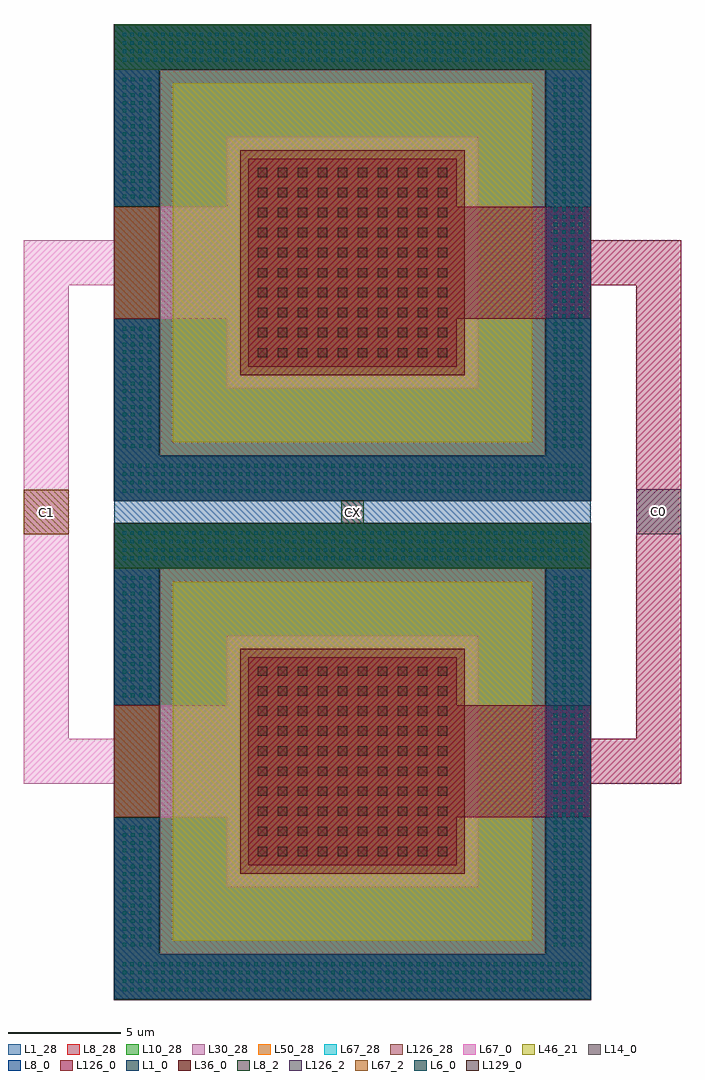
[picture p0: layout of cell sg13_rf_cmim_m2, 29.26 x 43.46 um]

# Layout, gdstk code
from math import pi, radians
import gdstk
lib = gdstk.Library(unit=1e-6, precision=1e-09)
def R(c, l, rs):  # rectangles x0, y0, x1, y1
    for r in rs: c.add(gdstk.rectangle(r[:2], r[2:], *l))
def A(c, l, x, y, w, h, nx, ny, dx, dy):  # array of equal rectangles
    R(c, l, [(x+i*dx, y+j*dy, x+i*dx+w, y+j*dy+h) for i in range(nx) for j in range(ny)])
def P(c, l, *ps):  # polygons
    for p in ps: c.add(gdstk.Polygon(p, *l))
L1_0 = (1, 0)
L1_28 = (1, 28)
L6_0 = (6, 0)
L8_0 = (8, 0)
L8_2 = (8, 2)
L8_28 = (8, 28)
L10_28 = (10, 28)
L14_0 = (14, 0)
L30_28 = (30, 28)
L36_0 = (36, 0)
L46_21 = (46, 21)
L50_28 = (50, 28)
L67_0 = (67, 0)
L67_2 = (67, 2)
L67_28 = (67, 28)
L126_0 = (126, 0)
L126_2 = (126, 2)
L126_28 = (126, 28)
L129_0 = (129, 0)

rfcmim = lib.new_cell('rfcmim')
P(rfcmim, L1_0, [(-5.6,-5.6),(-5.6,15.6),(15.6,15.6),(15.6,7.5),(13.6,7.5),(13.6,13.6),(-3.6,13.6),(-3.6,-3.6),(13.6,-3.6),(13.6,2.5),(15.6,2.5),(15.6,-5.6)])
R(rfcmim, L1_28, [(-5.6,-5.6,15.6,15.6)])
A(rfcmim, L6_0, -4.9, -5.24, 0.16, 0.16, 8, 2, 0.345, 0.37)
A(rfcmim, L6_0, -2.145, -5.24, 0.16, 0.16, 8, 2, 0.345, 0.37)
A(rfcmim, L6_0, 0.61, -5.24, 0.16, 0.16, 9, 2, 0.345, 0.37)
A(rfcmim, L6_0, 3.71, -5.24, 0.16, 0.16, 8, 2, 0.345, 0.37)
A(rfcmim, L6_0, 6.465, -5.24, 0.16, 0.16, 9, 2, 0.345, 0.37)
A(rfcmim, L6_0, 9.565, -5.24, 0.16, 0.16, 8, 2, 0.345, 0.37)
A(rfcmim, L6_0, 12.32, -5.24, 0.16, 0.16, 9, 2, 0.345, 0.37)
A(rfcmim, L6_0, -5.24, -4.87, 0.16, 0.16, 1, 3, 0, 0.375)
A(rfcmim, L6_0, -4.9, -4.495, 0.16, 0.16, 8, 2, 0.345, 0.375)
A(rfcmim, L6_0, -2.145, -4.495, 0.16, 0.16, 8, 2, 0.345, 0.375)
A(rfcmim, L6_0, 0.61, -4.495, 0.16, 0.16, 9, 2, 0.345, 0.375)
A(rfcmim, L6_0, 3.71, -4.495, 0.16, 0.16, 8, 2, 0.345, 0.375)
A(rfcmim, L6_0, 6.465, -4.495, 0.16, 0.16, 9, 2, 0.345, 0.375)
A(rfcmim, L6_0, 9.565, -4.495, 0.16, 0.16, 8, 2, 0.345, 0.375)
A(rfcmim, L6_0, 12.32, -4.495, 0.16, 0.16, 9, 2, 0.345, 0.375)
A(rfcmim, L6_0, -5.24, -3.24, 0.16, 0.16, 1, 49, 0, 0.34)
A(rfcmim, L6_0, -4.87, -3.24, 0.16, 0.16, 3, 49, 0.375, 0.34)
A(rfcmim, L6_0, 14.33, -3.24, 0.16, 0.16, 3, 2, 0.375, 0.345)
A(rfcmim, L6_0, 14.33, -2.545, 0.16, 0.16, 3, 2, 0.375, 0.345)
A(rfcmim, L6_0, 13.96, -2.2, 0.16, 0.16, 1, 3, 0, 0.35)
A(rfcmim, L6_0, 14.33, -1.85, 0.16, 0.16, 3, 2, 0.375, 0.35)
A(rfcmim, L6_0, 14.33, -1.155, 0.16, 0.16, 3, 2, 0.375, 0.35)
A(rfcmim, L6_0, 13.96, -0.46, 0.16, 0.16, 1, 3, 0, 0.35)
A(rfcmim, L6_0, 14.33, -0.46, 0.16, 0.16, 3, 3, 0.375, 0.35)
A(rfcmim, L6_0, 14.33, 0.585, 0.16, 0.16, 3, 2, 0.375, 0.35)
A(rfcmim, L6_0, 13.96, 1.28, 0.16, 0.16, 1, 3, 0, 0.35)
A(rfcmim, L6_0, 14.33, 1.28, 0.16, 0.16, 3, 3, 0.375, 0.35)
A(rfcmim, L6_0, 14.33, 7.86, 0.16, 0.16, 3, 2, 0.375, 0.345)
A(rfcmim, L6_0, 14.33, 8.555, 0.16, 0.16, 3, 2, 0.375, 0.345)
A(rfcmim, L6_0, 13.96, 8.9, 0.16, 0.16, 1, 3, 0, 0.35)
A(rfcmim, L6_0, 14.33, 9.25, 0.16, 0.16, 3, 2, 0.375, 0.35)
A(rfcmim, L6_0, 14.33, 9.945, 0.16, 0.16, 3, 2, 0.375, 0.35)
A(rfcmim, L6_0, 13.96, 10.64, 0.16, 0.16, 1, 3, 0, 0.35)
A(rfcmim, L6_0, 14.33, 10.64, 0.16, 0.16, 3, 3, 0.375, 0.35)
A(rfcmim, L6_0, 14.33, 11.685, 0.16, 0.16, 3, 2, 0.375, 0.35)
A(rfcmim, L6_0, 13.96, 12.38, 0.16, 0.16, 1, 3, 0, 0.35)
A(rfcmim, L6_0, 14.33, 12.38, 0.16, 0.16, 3, 3, 0.375, 0.35)
A(rfcmim, L6_0, -4.9, 13.96, 0.16, 0.16, 8, 2, 0.345, 0.37)
A(rfcmim, L6_0, -2.145, 13.96, 0.16, 0.16, 8, 2, 0.345, 0.37)
A(rfcmim, L6_0, 0.61, 13.96, 0.16, 0.16, 9, 2, 0.345, 0.37)
A(rfcmim, L6_0, 3.71, 13.96, 0.16, 0.16, 8, 2, 0.345, 0.37)
A(rfcmim, L6_0, 6.465, 13.96, 0.16, 0.16, 9, 2, 0.345, 0.37)
A(rfcmim, L6_0, 9.565, 13.96, 0.16, 0.16, 8, 2, 0.345, 0.37)
A(rfcmim, L6_0, 12.32, 13.96, 0.16, 0.16, 9, 2, 0.345, 0.37)
A(rfcmim, L6_0, -5.24, 14.33, 0.16, 0.16, 1, 3, 0, 0.375)
A(rfcmim, L6_0, -4.9, 14.705, 0.16, 0.16, 8, 2, 0.345, 0.375)
A(rfcmim, L6_0, -2.145, 14.705, 0.16, 0.16, 8, 2, 0.345, 0.375)
A(rfcmim, L6_0, 0.61, 14.705, 0.16, 0.16, 9, 2, 0.345, 0.375)
A(rfcmim, L6_0, 3.71, 14.705, 0.16, 0.16, 8, 2, 0.345, 0.375)
A(rfcmim, L6_0, 6.465, 14.705, 0.16, 0.16, 9, 2, 0.345, 0.375)
A(rfcmim, L6_0, 9.565, 14.705, 0.16, 0.16, 8, 2, 0.345, 0.375)
A(rfcmim, L6_0, 12.32, 14.705, 0.16, 0.16, 9, 2, 0.345, 0.375)
R(rfcmim, L6_0, [(-5.24,-5.24,-5.08,-5.08), (13.96,-3.24,14.12,-3.08), (13.96,-2.895,14.12,-2.735), (13.96,-2.545,14.12,-2.385), (13.96,-1.155,14.12,-0.995), (13.96,-0.805,14.12,-0.645), (13.96,0.585,14.12,0.745), (13.96,0.935,14.12,1.095), (13.96,7.86,14.12,8.02), (13.96,8.205,14.12,8.365), (13.96,8.555,14.12,8.715), (13.96,9.945,14.12,10.105), (13.96,10.295,14.12,10.455), (13.96,11.685,14.12,11.845), (13.96,12.035,14.12,12.195), (-5.24,13.96,-5.08,14.12)])
P(rfcmim, L8_0, [(-5.6,-5.6),(-5.6,15.6),(15.6,15.6),(15.6,7.5),(13.6,7.5),(13.6,13.6),(-3.6,13.6),(-3.6,-3.6),(13.6,-3.6),(13.6,2.5),(15.6,2.5),(15.6,-5.6)])
R(rfcmim, L8_2, [(-5.6,-5.6,15.6,-3.6), (-5.6,-5.6,15.6,-3.6)])
R(rfcmim, L8_28, [(-5.6,-5.6,15.6,15.6)])
R(rfcmim, L10_28, [(-5.6,-5.6,15.6,15.6)])
P(rfcmim, L14_0, [(-5.63,-5.63),(-5.63,13.57),(-3.57,13.57),(-3.57,-3.57),(13.57,-3.57),(13.57,13.57),(-5.63,13.57),(-5.63,15.63),(15.63,15.63),(15.63,-5.63)])
R(rfcmim, L30_28, [(-5.6,-5.6,15.6,15.6)])
R(rfcmim, L36_0, [(0,0,10,10)])
R(rfcmim, L46_21, [(-3,-3,13,13)])
R(rfcmim, L50_28, [(-5.6,-5.6,15.6,15.6)])
R(rfcmim, L67_0, [(-0.6,-0.6,10.6,10.6), (-0.6,-0.6,10.6,10.6), (10.6,2.5,15.6,7.5)])
R(rfcmim, L67_2, [(13.6,2.5,15.6,7.5), (13.6,2.5,15.6,7.5)])
R(rfcmim, L67_28, [(-5.6,-5.6,15.6,15.6)])
R(rfcmim, L126_0, [(0.36,0.36,9.64,9.64), (-5.6,2.5,0.36,7.5)])
R(rfcmim, L126_2, [(-5.6,2.5,-3.6,7.5), (-5.6,2.5,-3.6,7.5)])
R(rfcmim, L126_28, [(-5.6,-5.6,15.6,15.6)])
A(rfcmim, L129_0, 0.78, 0.78, 0.42, 0.42, 5, 5, 0.89, 0.89)
A(rfcmim, L129_0, 5.235, 0.78, 0.42, 0.42, 4, 5, 0.89, 0.89)
A(rfcmim, L129_0, 8.8, 0.78, 0.42, 0.42, 1, 5, 0, 0.89)
A(rfcmim, L129_0, 0.78, 5.235, 0.42, 0.42, 5, 4, 0.89, 0.89)
A(rfcmim, L129_0, 5.235, 5.235, 0.42, 0.42, 4, 4, 0.89, 0.89)
A(rfcmim, L129_0, 8.8, 5.235, 0.42, 0.42, 1, 4, 0, 0.89)
A(rfcmim, L129_0, 0.78, 8.8, 0.42, 0.42, 5, 1, 0.89, 0)
A(rfcmim, L129_0, 5.235, 8.8, 0.42, 0.42, 4, 1, 0.89, 0)
R(rfcmim, L129_0, [(8.8,8.8,9.22,9.22)])
rfcmim.add(gdstk.Label('PLUS', (-4.6,5), layer=63, texttype=0))
rfcmim.add(gdstk.Label('MINUS', (14.6,5), layer=63, texttype=0))
rfcmim.add(gdstk.Label('TIE', (5,-4.6), layer=63, texttype=0))
rfcmim.add(gdstk.Label('rfcmim', (5,12), layer=63, texttype=0))
rfcmim.add(gdstk.Label('C=152f', (5,-2), layer=63, texttype=0))

sg13_rf_cmim_m2 = lib.new_cell('sg13_rf_cmim_m2')
R(sg13_rf_cmim_m2, L8_0, [(0.03,-0.97,21.23,0.03)])
R(sg13_rf_cmim_m2, L8_2, [(10.13,-0.97,11.13,0.03)])
R(sg13_rf_cmim_m2, L67_2, [(-4,-1.47,-2,0.53)])
R(sg13_rf_cmim_m2, L126_2, [(23.26,-1.465,25.26,0.535)])
sg13_rf_cmim_m2.add(gdstk.FlexPath([(21.23,10.63),(24.26,10.63),(24.26,-11.57),(21.23,-11.57)], 2, ends="flush", simple_path=True, layer=126, datatype=0))  # L126_0
sg13_rf_cmim_m2.add(gdstk.FlexPath([(0.03,10.63),(-3,10.63),(-3,-11.57),(0.03,-11.57)], 2, ends="flush", simple_path=True, layer=67, datatype=0))  # L67_0
sg13_rf_cmim_m2.add(gdstk.Reference(rfcmim, (15.63,15.63), rotation=pi))
sg13_rf_cmim_m2.add(gdstk.Reference(rfcmim, (15.63,-6.57), rotation=pi))
sg13_rf_cmim_m2.add(gdstk.Label('CX', (10.63,-0.47), layer=8, texttype=25))
sg13_rf_cmim_m2.add(gdstk.Label('C1', (-3,-0.47), layer=67, texttype=25))
sg13_rf_cmim_m2.add(gdstk.Label('C0', (24.26,-0.465), layer=126, texttype=25))

lib.write_gds('sg13_rf_cmim_m2.gds')
